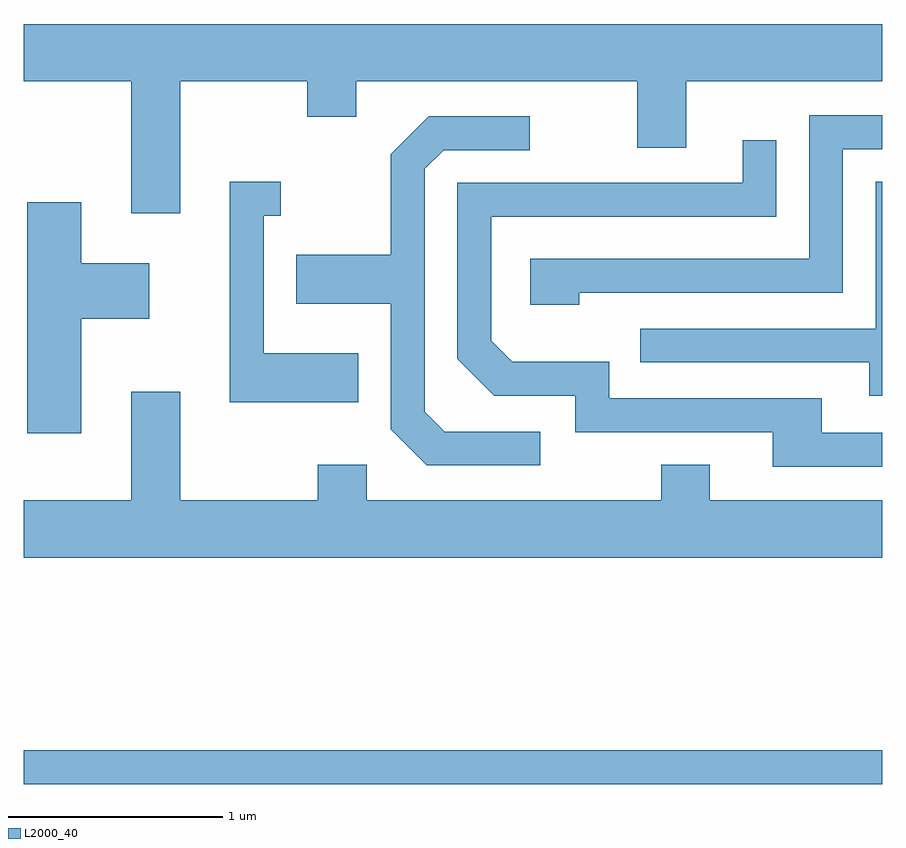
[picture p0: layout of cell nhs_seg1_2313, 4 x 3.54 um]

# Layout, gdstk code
import gdstk
lib = gdstk.Library(unit=1e-6, precision=1e-09)
def R(c, l, rs):  # rectangles x0, y0, x1, y1
    for r in rs: c.add(gdstk.rectangle(r[:2], r[2:], *l))
def P(c, l, *ps):  # polygons
    for p in ps: c.add(gdstk.Polygon(p, *l))
L2000_40 = (2000, 40)

nhs_seg1_2313 = lib.new_cell('nhs_seg1_2313')
R(nhs_seg1_2313, L2000_40, [(255.611,911.841,259.611,911.999)])
P(nhs_seg1_2313, L2000_40, [(256.339,915.116),(256.931,915.116),(256.931,914.951),(257.159,914.951),(257.159,915.116),(258.471,915.116),(258.471,914.806),(258.699,914.806),(258.699,915.116),(259.611,915.116),(259.611,915.384),(255.611,915.384),(255.611,915.116),(256.111,915.116),(256.111,914.501),(256.339,914.501)],
  [(258.199,914.131),(259.429,914.131),(259.429,914.801),(259.611,914.801),(259.611,914.959),(259.271,914.959),(259.271,914.289),(257.971,914.289),(257.971,914.076),(258.199,914.076)],
  [(258.017,913.484),(257.572,913.484),(257.479,913.577),(257.479,914.709),(257.567,914.796),(257.968,914.796),(257.968,914.954),(257.498,914.954),(257.321,914.777),(257.321,914.309),(256.881,914.309),(256.881,914.081),(257.321,914.081),(257.321,913.494),(257.489,913.326),(258.017,913.326)],
  [(259.611,913.479),(259.329,913.479),(259.329,913.639),(258.339,913.639),(258.339,913.809),(257.887,913.809),(257.789,913.907),(257.789,914.486),(259.119,914.486),(259.119,914.843),(258.961,914.843),(258.961,914.644),(257.631,914.644),(257.631,913.824),(257.804,913.651),(258.181,913.651),(258.181,913.481),(259.101,913.481),(259.101,913.321),(259.611,913.321)],
  [(257.169,913.849),(256.729,913.849),(256.729,914.491),(256.808,914.491),(256.808,914.649),(256.571,914.649),(256.571,913.621),(257.169,913.621)],
  [(259.611,914.649),(259.581,914.649),(259.581,913.964),(258.483,913.964),(258.483,913.806),(259.551,913.806),(259.551,913.651),(259.611,913.651)],
  [(255.879,914.011),(256.194,914.011),(256.194,914.269),(255.879,914.269),(255.879,914.554),(255.626,914.554),(255.626,913.476),(255.879,913.476)],
  [(259.611,913.164),(258.809,913.164),(258.809,913.329),(258.581,913.329),(258.581,913.164),(257.209,913.164),(257.209,913.329),(256.981,913.329),(256.981,913.164),(256.339,913.164),(256.339,913.669),(256.111,913.669),(256.111,913.164),(255.611,913.164),(255.611,912.896),(259.611,912.896)])

lib.write_gds('nhs_seg1_2313.gds')
